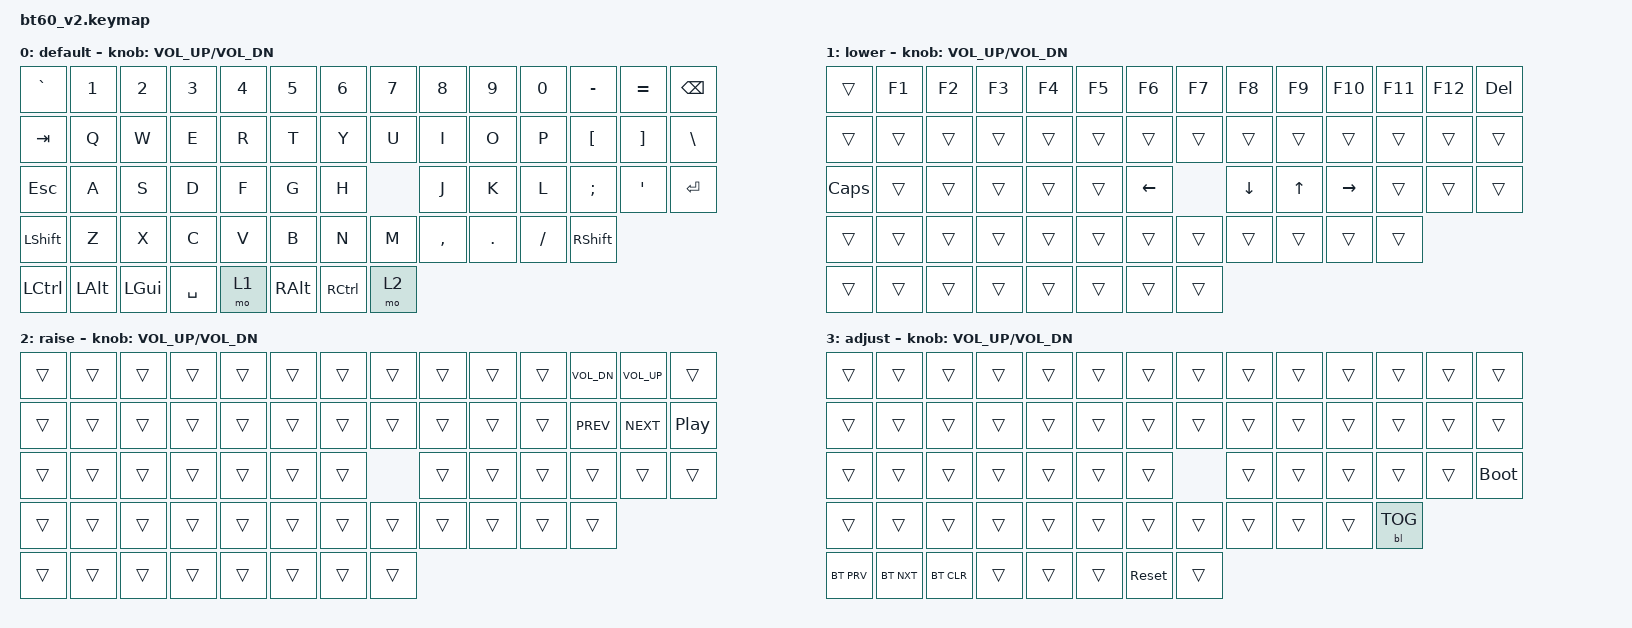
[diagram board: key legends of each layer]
#include <behaviors.dtsi>
#include <dt-bindings/zmk/keys.h>
#include <dt-bindings/zmk/bt.h>
#include <dt-bindings/zmk/rgb.h>
#include <dt-bindings/zmk/backlight.h>

/ {
  chosen {
    zmk,matrix_transform = &ansi_transform;
  };

  conditional_layers {
      compatible = "zmk,conditional-layers";
      tri_layer {
          if-layers = <1 2>;
          then-layer = <3>;
      };
  };

  keymap {
    compatible = "zmk,keymap";
    default {
        // ------------------------------------------------------------------------------------------
        // | ESC |  1  |  2  |  3  |  4  |  5  |  6  |  7  |  8  |  9  |  0  |  -  |  =  |   BKSP   |
        // | TAB  |  Q  |  W  |  E  |  R  |  T  |  Y  |  U  |  I  |  O  |  P  |  [  |  ]  |   \     |
        // | CAPS  |  A  |  S  |  D  |  F  |  G  |  H  |  J  |  K  |  L  |  ;  |  '  |     ENTER    |
        // |  SHIFT    |  Z  |  X  |  C  |  V  |  B  |  N  |  M  |  ,  |  .  | /   |      SHIFT     |
        // |  CTL  |  WIN  |  ALT  |            SPACE               | ALT |   1  |  MENU   |  CTRL  |
        // ------------------------------------------------------------------------------------------
      bindings = <
        &kp GRAVE &kp N1 &kp N2 &kp N3 &kp N4 &kp N5 &kp N6 &kp N7 &kp N8 &kp N9 &kp N0 &kp MINUS &kp EQUAL &kp BSPC
        &kp TAB &kp Q &kp W &kp E &kp R &kp T &kp Y &kp U &kp I &kp O &kp P &kp LBKT &kp RBKT &kp BSLH
        &kp ESC &kp A &kp S &kp D &kp F &kp G &kp H &kp J &kp K &kp L &kp SEMI &kp SQT &kp RET
        &kp LSHFT &kp Z &kp X &kp C &kp V &kp B &kp N &kp M &kp COMMA &kp DOT &kp FSLH &kp RSHFT
        &kp LCTRL &kp LALT &kp LGUI &kp SPACE &mo 1 &kp RALT &kp RCTRL &mo 2
      >;
      sensor-bindings = <&inc_dec_kp C_VOL_UP C_VOL_DN>;
    };
    lower {
      bindings = <
        &trans &kp F1 &kp F2 &kp F3 &kp F4 &kp F5 &kp F6 &kp F7 &kp F8 &kp F9 &kp F10 &kp F11 &kp F12 &kp DEL
        &trans &trans &trans &trans &trans &trans &trans &trans &trans &trans &trans &trans &trans &trans
        &kp CAPS &trans &trans &trans &trans &trans &kp LEFT &kp DOWN &kp UP &kp RIGHT &trans &trans &trans
        &trans &trans &trans &trans &trans &trans &trans &trans &trans &trans &trans &trans
        &trans &trans &trans &trans &trans &trans &trans &trans
      >;
      sensor-bindings = <&inc_dec_kp C_VOL_UP C_VOL_DN>;
    };
    raise {
      bindings = <
        &trans &trans &trans &trans &trans &trans &trans &trans &trans &trans &trans &kp C_VOL_DN &kp C_VOL_UP &trans
        &trans &trans &trans &trans &trans &trans &trans &trans &trans &trans &trans &kp C_PREV &kp C_NEXT &kp C_PP
        &trans &trans &trans &trans &trans &trans &trans &trans &trans &trans &trans &trans &trans
        &trans &trans &trans &trans &trans &trans &trans &trans &trans &trans &trans &trans
        &trans &trans &trans &trans &trans &trans &trans &trans
      >;
      sensor-bindings = <&inc_dec_kp C_VOL_UP C_VOL_DN>;
    };
    adjust {
      bindings = <
        &trans &trans &trans &trans &trans &trans &trans &trans &trans &trans &trans &trans &trans &trans
        &trans &trans &trans &trans &trans &trans &trans &trans &trans &trans &trans &trans &trans &trans
        &trans &trans &trans &trans &trans &trans &trans &trans &trans &trans &trans &trans &bootloader
        &trans &trans &trans &trans &trans &trans &trans &trans &trans &trans &trans &bl BL_TOG
        &bt BT_PRV &bt BT_NXT &bt BT_CLR &trans &trans &trans &sys_reset &trans
      >;
      sensor-bindings = <&inc_dec_kp C_VOL_UP C_VOL_DN>;
    };

        // ------------------------------------------------------------------------------------------
        // | GRAVE | - | F2  | F3  | F4  | F5  | F6  | F7  | F8  | F9  | F10 | F11 | F12 |    DEL   |
        // | TAB  |  Q  | UP  |  E  | HUI | HUD |  Y  |  U  | INS |  O  |PSCRN| SLCK| P_B |  RGB_TOG|
        // | CAPS  | LEFT| DOWN|RIGHT| BRI | BRD |  H  |  J  |  K  |  L  | HOME| PGUP|     BOOT     |
        // |  SHIFT   |VOLDN|VOLUP| MUTE|BLINC|BLDEC|  N  |  M  |  ,  | END | PGDN |      BL_TOG    |
        // | BT_PRV| BT_NXT|  ALT  |            SPACE               | ALT |   1  |  RESET  | BT_CLR |
        // ------------------------------------------------------------------------------------------
  };
};

